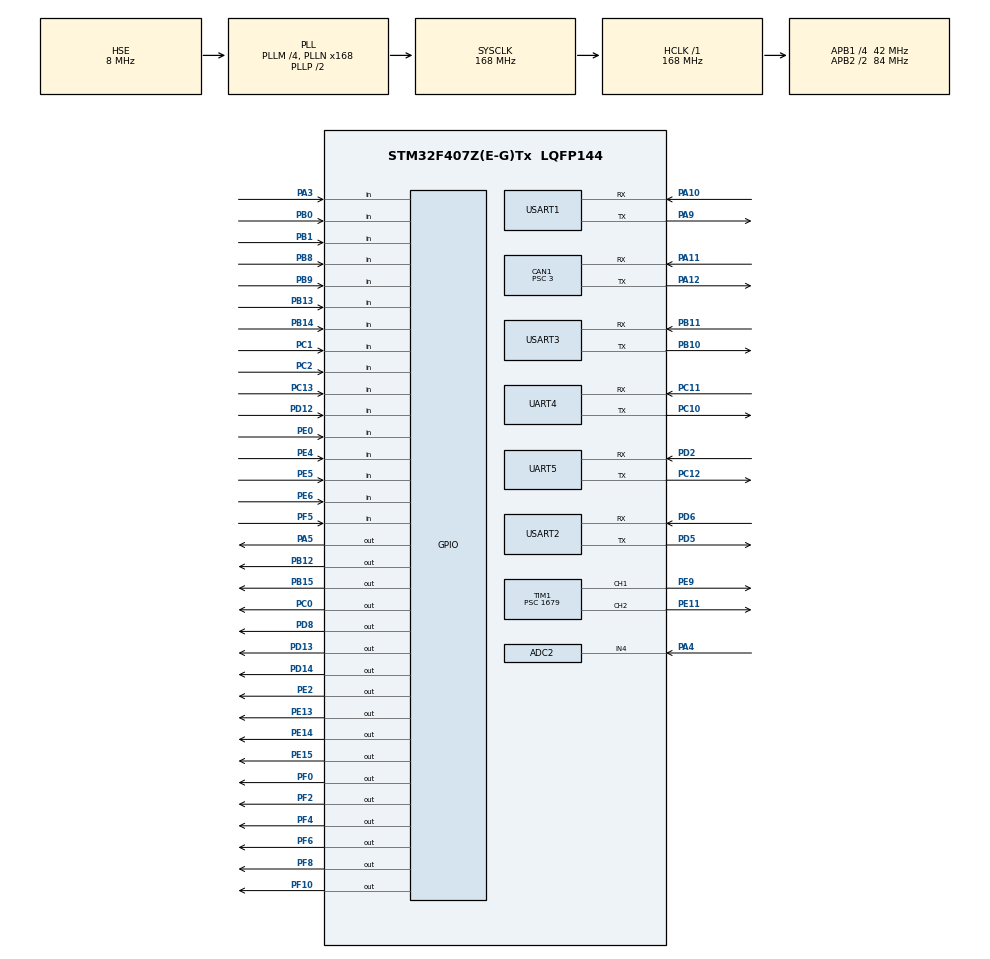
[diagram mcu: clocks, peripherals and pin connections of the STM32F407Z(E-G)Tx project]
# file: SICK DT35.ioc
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ADC2.Channel-3\#ChannelRegularConversion=ADC_CHANNEL_4
ADC2.ClockPrescaler=ADC_CLOCK_SYNC_PCLK_DIV4
ADC2.ContinuousConvMode=ENABLE
ADC2.DMAContinuousRequests=ENABLE
ADC2.NbrOfConversionFlag=1
ADC2.Rank-3\#ChannelRegularConversion=1
ADC2.SamplingTime-3\#ChannelRegularConversion=ADC_SAMPLETIME_56CYCLES
CAN1.ABOM=ENABLE
CAN1.BS1=CAN_BS1_9TQ
CAN1.BS2=CAN_BS2_4TQ
CAN1.CalculateTimeBit=1000
CAN1.CalculateTimeQuantum=71.42857142857143
CAN1.Prescaler=3
CAN1.TXFP=ENABLE
Dma.ADC2.4.Direction=DMA_PERIPH_TO_MEMORY
Dma.ADC2.4.FIFOMode=DMA_FIFOMODE_DISABLE
Dma.ADC2.4.Instance=DMA2_Stream3
Dma.ADC2.4.MemDataAlignment=DMA_MDATAALIGN_WORD
Dma.ADC2.4.MemInc=DMA_MINC_ENABLE
Dma.ADC2.4.Mode=DMA_CIRCULAR
Dma.ADC2.4.PeriphDataAlignment=DMA_PDATAALIGN_WORD
Dma.ADC2.4.PeriphInc=DMA_PINC_DISABLE
Dma.ADC2.4.Priority=DMA_PRIORITY_MEDIUM
Dma.Request0=USART3_RX
Dma.Request1=USART3_TX
Dma.Request2=USART1_TX
Dma.Request3=USART1_RX
Dma.Request4=ADC2
Dma.USART1_RX.3.Direction=DMA_PERIPH_TO_MEMORY
Dma.USART1_RX.3.FIFOMode=DMA_FIFOMODE_DISABLE
Dma.USART1_RX.3.Instance=DMA2_Stream2
Dma.USART1_RX.3.MemDataAlignment=DMA_MDATAALIGN_BYTE
Dma.USART1_RX.3.MemInc=DMA_MINC_ENABLE
Dma.USART1_RX.3.Mode=DMA_CIRCULAR
Dma.USART1_RX.3.PeriphDataAlignment=DMA_PDATAALIGN_BYTE
Dma.USART1_RX.3.PeriphInc=DMA_PINC_DISABLE
Dma.USART1_RX.3.Priority=DMA_PRIORITY_LOW
Dma.USART1_TX.2.Direction=DMA_MEMORY_TO_PERIPH
Dma.USART1_TX.2.FIFOMode=DMA_FIFOMODE_DISABLE
Dma.USART1_TX.2.Instance=DMA2_Stream7
Dma.USART1_TX.2.MemDataAlignment=DMA_MDATAALIGN_BYTE
Dma.USART1_TX.2.MemInc=DMA_MINC_ENABLE
Dma.USART1_TX.2.Mode=DMA_NORMAL
Dma.USART1_TX.2.PeriphDataAlignment=DMA_PDATAALIGN_BYTE
Dma.USART1_TX.2.PeriphInc=DMA_PINC_DISABLE
Dma.USART1_TX.2.Priority=DMA_PRIORITY_LOW
Dma.USART3_RX.0.Direction=DMA_PERIPH_TO_MEMORY
Dma.USART3_RX.0.FIFOMode=DMA_FIFOMODE_DISABLE
Dma.USART3_RX.0.Instance=DMA1_Stream1
Dma.USART3_RX.0.MemDataAlignment=DMA_MDATAALIGN_BYTE
Dma.USART3_RX.0.MemInc=DMA_MINC_ENABLE
Dma.USART3_RX.0.Mode=DMA_CIRCULAR
Dma.USART3_RX.0.PeriphDataAlignment=DMA_PDATAALIGN_BYTE
Dma.USART3_RX.0.PeriphInc=DMA_PINC_DISABLE
Dma.USART3_RX.0.Priority=DMA_PRIORITY_LOW
Dma.USART3_TX.1.Direction=DMA_MEMORY_TO_PERIPH
Dma.USART3_TX.1.FIFOMode=DMA_FIFOMODE_DISABLE
Dma.USART3_TX.1.Instance=DMA1_Stream3
Dma.USART3_TX.1.MemDataAlignment=DMA_MDATAALIGN_BYTE
Dma.USART3_TX.1.MemInc=DMA_MINC_ENABLE
Dma.USART3_TX.1.Mode=DMA_NORMAL
Dma.USART3_TX.1.PeriphDataAlignment=DMA_PDATAALIGN_BYTE
Dma.USART3_TX.1.PeriphInc=DMA_PINC_DISABLE
Dma.USART3_TX.1.Priority=DMA_PRIORITY_LOW
Mcu.Family=STM32F4
Mcu.Name=STM32F407Z(E-G)Tx
Mcu.Package=LQFP144
NVIC.CAN1_RX0_IRQn=true\:1\:0\:true\:true\:true\:1\:true\:true
NVIC.DMA1_Stream1_IRQn=true\:0\:0\:false\:false\:true\:false\:true
NVIC.DMA1_Stream3_IRQn=true\:0\:0\:false\:false\:true\:false\:true
NVIC.DMA2_Stream2_IRQn=true\:0\:0\:false\:false\:true\:false\:true
NVIC.DMA2_Stream3_IRQn=true\:0\:0\:false\:false\:true\:false\:true
NVIC.DMA2_Stream7_IRQn=true\:0\:0\:false\:false\:true\:false\:true
NVIC.PriorityGroup=NVIC_PRIORITYGROUP_4
NVIC.USART1_IRQn=true\:1\:0\:true\:true\:true\:2\:true\:true
NVIC.USART2_IRQn=true\:1\:0\:true\:true\:true\:3\:true\:true
NVIC.USART3_IRQn=true\:1\:0\:true\:true\:true\:4\:true\:true
PA10.Mode=Asynchronous
PA10.Signal=USART1_RX
PA11.Mode=Master
PA11.Signal=CAN1_RX
PA12.Mode=Master
PA12.Signal=CAN1_TX
PA13.Mode=Serial_Wire
PA13.Signal=SYS_JTMS-SWDIO
PA14.Mode=Serial_Wire
PA14.Signal=SYS_JTCK-SWCLK
PA3.GPIO_PuPd=GPIO_PULLUP
PA3.Signal=GPIO_Input
PA4.Signal=ADCx_IN4
PA5.GPIO_Speed=GPIO_SPEED_FREQ_HIGH
PA5.PinState=GPIO_PIN_SET
PA5.Signal=GPIO_Output
PA9.Mode=Asynchronous
PA9.Signal=USART1_TX
PB0.GPIO_PuPd=GPIO_PULLUP
PB0.Signal=GPIO_Input
PB1.GPIO_PuPd=GPIO_PULLUP
PB1.Signal=GPIO_Input
PB10.Mode=Asynchronous
PB10.Signal=USART3_TX
PB11.Mode=Asynchronous
PB11.Signal=USART3_RX
PB12.GPIO_PuPd=GPIO_PULLDOWN
PB12.GPIO_Speed=GPIO_SPEED_FREQ_VERY_HIGH
PB12.PinState=GPIO_PIN_SET
PB12.Signal=GPIO_Output
PB13.GPIO_PuPd=GPIO_PULLDOWN
PB13.Signal=GPIO_Input
PB14.GPIO_PuPd=GPIO_PULLDOWN
PB14.Signal=GPIO_Input
PB15.GPIO_PuPd=GPIO_PULLDOWN
PB15.GPIO_Speed=GPIO_SPEED_FREQ_VERY_HIGH
PB15.PinState=GPIO_PIN_SET
PB15.Signal=GPIO_Output
PB8.GPIO_PuPd=GPIO_PULLDOWN
PB8.Signal=GPIO_Input
PB9.GPIO_PuPd=GPIO_PULLDOWN
PB9.Signal=GPIO_Input
PC0.GPIO_ModeDefaultOutputPP=GPIO_MODE_OUTPUT_PP
PC0.GPIO_PuPd=GPIO_PULLUP
PC0.GPIO_Speed=GPIO_SPEED_FREQ_HIGH
PC0.PinState=GPIO_PIN_SET
PC0.Signal=GPIO_Output
PC1.GPIO_PuPd=GPIO_PULLDOWN
PC1.Signal=GPIO_Input
PC10.Mode=Asynchronous
PC10.Signal=UART4_TX
PC11.Mode=Asynchronous
PC11.Signal=UART4_RX
PC12.Mode=Asynchronous
PC12.Signal=UART5_TX
PC13-ANTI_TAMP.GPIO_PuPd=GPIO_PULLDOWN
PC13-ANTI_TAMP.Signal=GPIO_Input
PC2.GPIO_PuPd=GPIO_PULLDOWN
PC2.Signal=GPIO_Input
PD12.Signal=GPIO_Input
PD13.GPIO_PuPd=GPIO_PULLUP
PD13.Signal=GPIO_Output
PD14.GPIO_PuPd=GPIO_PULLDOWN
PD14.Signal=GPIO_Output
PD2.Mode=Asynchronous
PD2.Signal=UART5_RX
PD5.Mode=Asynchronous
PD5.Signal=USART2_TX
PD6.Mode=Asynchronous
PD6.Signal=USART2_RX
PD8.Signal=GPIO_Output
PE0.GPIO_PuPd=GPIO_PULLDOWN
PE0.Signal=GPIO_Input
PE11.Signal=S_TIM1_CH2
PE13.GPIO_PuPd=GPIO_PULLDOWN
PE13.GPIO_Speed=GPIO_SPEED_FREQ_VERY_HIGH
PE13.PinState=GPIO_PIN_SET
PE13.Signal=GPIO_Output
PE14.GPIO_PuPd=GPIO_PULLDOWN
PE14.GPIO_Speed=GPIO_SPEED_FREQ_VERY_HIGH
PE14.PinState=GPIO_PIN_SET
PE14.Signal=GPIO_Output
PE15.GPIO_PuPd=GPIO_PULLDOWN
PE15.GPIO_Speed=GPIO_SPEED_FREQ_VERY_HIGH
PE15.PinState=GPIO_PIN_SET
PE15.Signal=GPIO_Output
PE2.GPIO_Speed=GPIO_SPEED_FREQ_HIGH
PE2.Signal=GPIO_Output
PE4.GPIO_PuPd=GPIO_PULLDOWN
PE4.Signal=GPIO_Input
PE5.GPIO_PuPd=GPIO_PULLUP
PE5.Signal=GPIO_Input
PE6.GPIO_PuPd=GPIO_PULLDOWN
PE6.Signal=GPIO_Input
PE9.Signal=S_TIM1_CH1
PF0.GPIO_PuPd=GPIO_PULLDOWN
PF0.GPIO_Speed=GPIO_SPEED_FREQ_HIGH
PF0.Signal=GPIO_Output
PF10.GPIO_PuPd=GPIO_PULLDOWN
PF10.GPIO_Speed=GPIO_SPEED_FREQ_HIGH
PF10.Signal=GPIO_Output
PF2.GPIO_PuPd=GPIO_PULLDOWN
PF2.GPIO_Speed=GPIO_SPEED_FREQ_HIGH
PF2.Signal=GPIO_Output
PF4.GPIO_PuPd=GPIO_PULLDOWN
PF4.GPIO_Speed=GPIO_SPEED_FREQ_HIGH
PF4.Signal=GPIO_Output
PF5.GPIO_PuPd=GPIO_PULLUP
PF5.Signal=GPIO_Input
PF6.GPIO_PuPd=GPIO_PULLDOWN
PF6.GPIO_Speed=GPIO_SPEED_FREQ_HIGH
PF6.Signal=GPIO_Output
PF8.GPIO_PuPd=GPIO_PULLDOWN
PF8.GPIO_Speed=GPIO_SPEED_FREQ_HIGH
PF8.Signal=GPIO_Output
PH0-OSC_IN.Mode=HSE-External-Oscillator
PH0-OSC_IN.Signal=RCC_OSC_IN
PH1-OSC_OUT.Mode=HSE-External-Oscillator
PH1-OSC_OUT.Signal=RCC_OSC_OUT
ProjectManager.HeapSize=0x600
ProjectManager.StackSize=0x1200
ProjectManager.TargetToolchain=EWARM V8
RCC.48MHZClocksFreq_Value=84000000
RCC.AHBFreq_Value=168000000
RCC.APB1CLKDivider=RCC_HCLK_DIV4
RCC.APB1Freq_Value=42000000
RCC.APB1TimFreq_Value=84000000
RCC.APB2CLKDivider=RCC_HCLK_DIV2
RCC.APB2Freq_Value=84000000
RCC.APB2TimFreq_Value=168000000
RCC.CortexFreq_Value=168000000
RCC.HCLKFreq_Value=168000000
RCC.HSE_VALUE=8000000
RCC.HSI_VALUE=16000000
RCC.LSE_VALUE=32768
RCC.PLLM=4
RCC.PLLN=168
RCC.PLLSourceVirtual=RCC_PLLSOURCE_HSE
RCC.SYSCLKFreq_VALUE=168000000
RCC.SYSCLKSource=RCC_SYSCLKSOURCE_PLLCLK
RCC.VCOOutputFreq_Value=336000000
SH.ADCx_IN4.0=ADC2_IN4,IN4
SH.S_TIM1_CH1.0=TIM1_CH1,PWM Generation1 CH1
SH.S_TIM1_CH2.0=TIM1_CH2,PWM Generation2 CH2
TIM1.Channel-PWM\ Generation1\ CH1=TIM_CHANNEL_1
TIM1.Channel-PWM\ Generation2\ CH2=TIM_CHANNEL_2
TIM1.Period=1999
TIM1.Prescaler=1679
TIM1.Pulse-PWM\ Generation1\ CH1=0
TIM1.Pulse-PWM\ Generation2\ CH2=0
TIM3.Period=9999
TIM3.Prescaler=71
UART4.VirtualMode=Asynchronous
UART5.VirtualMode=Asynchronous
USART1.VirtualMode=VM_ASYNC
USART2.VirtualMode=VM_ASYNC
USART3.VirtualMode=VM_ASYNC
VP_TIM3_VS_ClockSourceINT.Mode=Internal
board=MR1_Chassis

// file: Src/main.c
/* USER CODE BEGIN Header */
/**
  ******************************************************************************
  * @file           : main.c
  * @brief          : Main program body
  ******************************************************************************
  * @attention
  *
  * <h2><center>&copy; Copyright (c) 2019 STMicroelectronics.
  * All rights reserved.</center></h2>
  *
  * This software component is licensed by ST under BSD 3-Clause license,
  * the "License"; You may not use this file except in compliance with the
  * License. You may obtain a copy of the License at:
  *                        opensource.org/licenses/BSD-3-Clause
  *
  ******************************************************************************
  */
/* USER CODE END Header */

#include "main.h"
#include "adc.h"
#include "can.h"
#include "dma.h"
#include "tim.h"
#include "usart.h"
#include "gpio.h"

/* USER CODE BEGIN Includes */
#include "cmd_func.h"
#include "simplelib.h"

/*UCOS include files*/
#include "app_cfg.h"
#include "os_cpu.h"
#include "ucos_ii.h"
#include "task.h"
/* USER CODE END Includes */

/* USER CODE BEGIN PV */
static OS_STK App_TaskStartStk[APP_CFG_TASK_START_STK_SIZE];
/* USER CODE END PV */

void SystemClock_Config(void);
static void MX_NVIC_Init(void);
/* USER CODE BEGIN PFP */
static void AppTaskStart(void *p_arg);
/* USER CODE END PFP */

/* USER CODE BEGIN 0 */
Main_Flag main_flag = {
    0,  //int run_while_flag;
    0,
    0,
    1};

//uint32_t ADC_value[3]={0};
/* USER CODE END 0 */

int main(void)
{

  /* MCU Configuration--------------------------------------------------------*/

  /* Reset of all peripherals, Initializes the Flash interface and the Systick. */

  /* USER CODE BEGIN 2 */

  //   simplelib_init(&huart3, &hcan1);

    //HAL_ADC_Start(&hadc2);
    //if(HAL_ADC_Start_DMA(&hadc2,ADC_value,3) != HAL_OK) while(1);;
    //sick_dt35_init();

    //int mid;
    //int i=0;
  /* USER CODE END 2 */

  /* Infinite loop */
  /* USER CODE BEGIN WHILE */
    //float distance = 0;
    //while (1) {
     //   simplelib_run();
    //}
#if (OS_TASK_NAME_EN > 0u)
    INT8U os_err;
#endif
    HAL_Init();         //原有位置
    CPU_IntDis();       //关中�??
    OSInit();
    OSTaskCreateExt(AppTaskStart,
                    0,
                    &App_TaskStartStk[APP_CFG_TASK_START_STK_SIZE - 1],
                    APP_CFG_TASK_START_PRIO,
                    APP_CFG_TASK_START_PRIO,
                    &App_TaskStartStk[0],
                    APP_CFG_TASK_START_STK_SIZE,
                    0,
                    (OS_TASK_OPT_STK_CHK | OS_TASK_OPT_STK_CLR));
    OSStart();
    while (1) {
        ;
    }

    /* USER CODE END WHILE */

}

void SystemClock_Config(void)
{
  RCC_OscInitTypeDef RCC_OscInitStruct = {0};
  RCC_ClkInitTypeDef RCC_ClkInitStruct = {0};

  /** Configure the main internal regulator output voltage
  */
  __HAL_RCC_PWR_CLK_ENABLE();
  __HAL_PWR_VOLTAGESCALING_CONFIG(PWR_REGULATOR_VOLTAGE_SCALE1);
  /** Initializes the CPU, AHB and APB busses clocks
  */
  RCC_OscInitStruct.OscillatorType = RCC_OSCILLATORTYPE_HSE;
  RCC_OscInitStruct.HSEState = RCC_HSE_ON;
  RCC_OscInitStruct.PLL.PLLState = RCC_PLL_ON;
  RCC_OscInitStruct.PLL.PLLSource = RCC_PLLSOURCE_HSE;
  RCC_OscInitStruct.PLL.PLLM = 4;
  RCC_OscInitStruct.PLL.PLLN = 168;
  RCC_OscInitStruct.PLL.PLLP = RCC_PLLP_DIV2;
  RCC_OscInitStruct.PLL.PLLQ = 4;
  if (HAL_RCC_OscConfig(&RCC_OscInitStruct) != HAL_OK)
  {
    Error_Handler();
  }
  /** Initializes the CPU, AHB and APB busses clocks
  */
  RCC_ClkInitStruct.ClockType = RCC_CLOCKTYPE_HCLK|RCC_CLOCKTYPE_SYSCLK
                              |RCC_CLOCKTYPE_PCLK1|RCC_CLOCKTYPE_PCLK2;
  RCC_ClkInitStruct.SYSCLKSource = RCC_SYSCLKSOURCE_PLLCLK;
  RCC_ClkInitStruct.AHBCLKDivider = RCC_SYSCLK_DIV1;
  RCC_ClkInitStruct.APB1CLKDivider = RCC_HCLK_DIV4;
  RCC_ClkInitStruct.APB2CLKDivider = RCC_HCLK_DIV2;

  if (HAL_RCC_ClockConfig(&RCC_ClkInitStruct, FLASH_LATENCY_5) != HAL_OK)
  {
    Error_Handler();
  }
}

/**
  * @brief NVIC Configuration.
  * @retval None
  */
static void MX_NVIC_Init(void)
{
  /* CAN1_RX0_IRQn interrupt configuration */
  HAL_NVIC_SetPriority(CAN1_RX0_IRQn, 1, 0);
  HAL_NVIC_EnableIRQ(CAN1_RX0_IRQn);
  /* USART1_IRQn interrupt configuration */
  HAL_NVIC_SetPriority(USART1_IRQn, 1, 0);
  HAL_NVIC_EnableIRQ(USART1_IRQn);
  /* USART2_IRQn interrupt configuration */
  HAL_NVIC_SetPriority(USART2_IRQn, 1, 0);
  HAL_NVIC_EnableIRQ(USART2_IRQn);
  /* USART3_IRQn interrupt configuration */
  HAL_NVIC_SetPriority(USART3_IRQn, 1, 0);
  HAL_NVIC_EnableIRQ(USART3_IRQn);
}

/* USER CODE BEGIN 4 */

//override the weak function by zx
// __IO uint32_t uwTick;
// uint32_t uwTickPrio   = (1UL << __NVIC_PRIO_BITS); /* Invalid PRIO */
// HAL_TickFreqTypeDef uwTickFreq = HAL_TICK_FREQ_DEFAULT;  /* 1KHz */

HAL_StatusTypeDef HAL_InitTick(uint32_t TickPriority) {

  //   /* Configure the SysTick to have interrupt in 1ms time basis*/
  //if (HAL_SYSTICK_Config(SystemCoreClock / (1000U / uwTickFreq)) > 0U)
  // {
  //   return HAL_ERROR;
  // }

  // /* Configure the SysTick IRQ priority */
  // if (TickPriority < (1UL << __NVIC_PRIO_BITS))
  // {
  //HAL_NVIC_SetPriority(SysTick_IRQn, TickPriority, 0U);
  //   uwTickPrio = TickPriority;
  // }
  // else
  // {
  //   return HAL_ERROR;
  // }

  /* Return function status */
  //return HAL_OK;

    CPU_INT32U cpu_clk;
    //HAL_NVIC_SetPriorityGrouping(NVIC_PRIORITYGROUP_4);
    if (OSRunning > 0u) {  //Check if multi-tasking has started
        cpu_clk = HAL_RCC_GetHCLKFreq();
        OS_CPU_SysTickInit(cpu_clk /(1000U));  //Initialize the OS periodic time source (SysTick)
    }
    return (HAL_OK);
}

//override the weak function by zx
uint32_t HAL_GetTick(void) {
    CPU_INT32U os_tick_ctr;
#if (OS_VERSION >= 30000u)
    OS_ERR os_err;
    os_tick_ctr = OSTimeGet(&os_err);
#else
    os_tick_ctr = OSTimeGet();
#endif
    return os_tick_ctr;
}

//Start task
static void AppTaskStart(void * p_arg){
    (void)p_arg;

  /* USER CODE BEGIN Init */

  /* USER CODE END Init */
  //HAL_Init();
  /* Configure the system clock */
  SystemClock_Config();

  /* USER CODE BEGIN SysInit */

  /* USER CODE END SysInit */

  /* Initialize all configured peripherals */
  MX_GPIO_Init();
  MX_DMA_Init();
  MX_CAN1_Init();
  MX_USART1_UART_Init();
  MX_USART2_UART_Init();
  MX_USART3_UART_Init();
  MX_UART5_Init();
  MX_UART4_Init();
  MX_TIM3_Init();
  MX_TIM1_Init();
  MX_ADC2_Init();

  /* Initialize interrupts */
  MX_NVIC_Init();
  /* USER CODE BEGIN 2 */

  //simplelib_init(&huart3, &hcan1);

  OS_CPU_SysTickInit(168000000/(1000U));
  //OS_CPU_SysTickInit();     此函数已在HAL的最前面的初始化中使�??
#if (OS_TASK_STAT_EN > 0)
    //OSStatInit();                                            /* Determine CPU capacity.                              */
#endif

     //App_TaskCreate();                                       /* Create application tasks.                            */

	for(;;)
   	{
        HAL_GPIO_TogglePin(GPIOA, GPIO_PIN_5);
      	OSTimeDlyHMSM(0, 0, 5, 0);
    }
}

/* USER CODE END 4 */

void Error_Handler(void)
{
    while (1) {
    }
}

/************************ (C) COPYRIGHT STMicroelectronics *****END OF FILE****/
